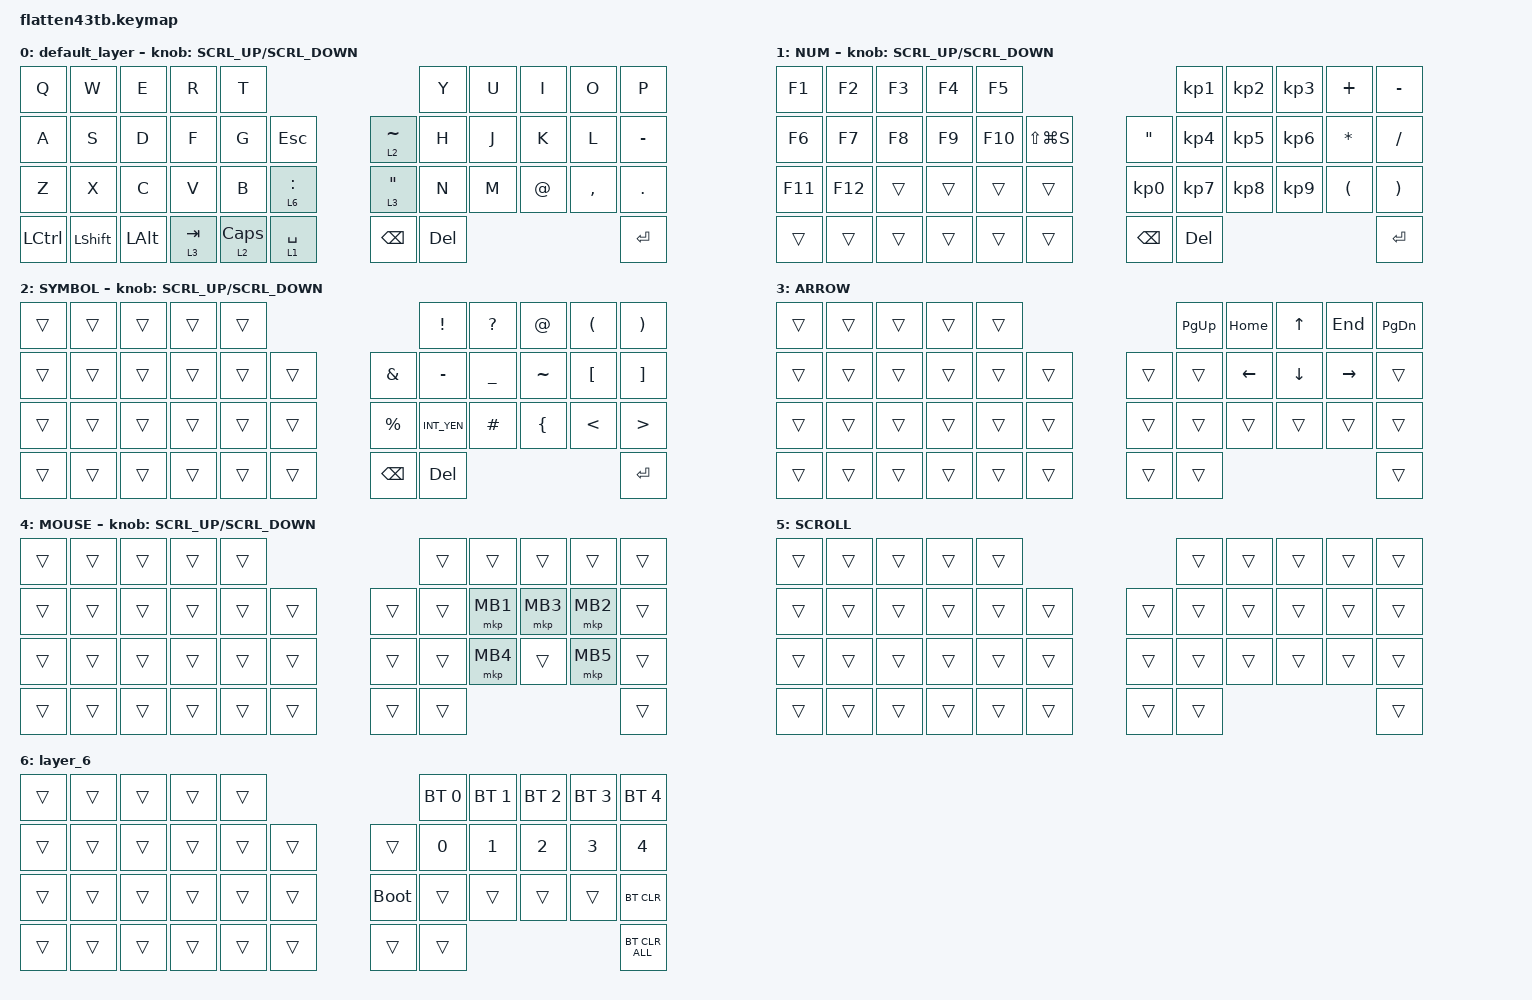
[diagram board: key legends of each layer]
#define ZMK_POINTING_DEFAULT_SCRL_VAL 150

#include <behaviors/rgbled_widget.dtsi>
#include <dt-bindings/zmk/input_transform.h>
#include <input/processors.dtsi>
#include <zephyr/dt-bindings/input/input-event-codes.h>
#include <behaviors.dtsi>
#include <dt-bindings/zmk/bt.h>
#include <dt-bindings/zmk/keys.h>
#include <dt-bindings/zmk/pointing.h>

&mt {
    flavor = "balanced";
    quick-tap-ms = <0>;
};

&mmv {
    delay-ms = <20>;
    trigger-period-ms = <5>;
    time-to-max-speed-ms = <100>;
    acceleration-exponent = <2>;
};

&msc {
    delay-ms = <3>;
    trigger-period-ms = <3>;
    time-to-max-speed-ms = <100>;
    acceleration-exponent = <0>;
};

/ {
    input_processors {
        zip_wheel_scaler: zip_wheel_scaler {
            compatible = "zmk,input-processor-scaler";
            #input-processor-cells = <2>;
            type = <INPUT_EV_REL>;
            codes = <INPUT_REL_WHEEL>;
            track-remainders;
        };
    };
};

/ {
    combos {
        compatible = "zmk,combos";

        tab {
            bindings = <&kp TAB>;
            key-positions = <11 12>;
        };

        shift_tab {
            bindings = <&kp LS(TAB)>;
            key-positions = <12 13>;
        };

        muhennkann {
            bindings = <&to_layer_0 INT_MUHENKAN>;
            key-positions = <11 10>;
        };

        double_quotation {
            bindings = <&kp DOUBLE_QUOTES>;
            key-positions = <20 21>;
        };

        eq {
            bindings = <&kp EQUAL>;
            key-positions = <24 25>;
        };
    };

    macros {
        to_layer_0: to_layer_0 {
            compatible = "zmk,behavior-macro-one-param";
            #binding-cells = <1>;
            bindings = <&to 0 &macro_param_1to1 &kp MACRO_PLACEHOLDER>;
            label = "TO_LAYER_0";
        };
    };

    behaviors {
        lt_to_layer_0: lt_to_layer_0 {
            compatible = "zmk,behavior-hold-tap";
            label = "LAYER_TAP_TO_0";
            bindings = <&mo>, <&to_layer_0>;

            #binding-cells = <2>;
            tapping-term-ms = <200>;
        };

        sensor_rotate_kp: sensor_rotate_kp {
            compatible = "zmk,behavior-sensor-rotate-var";
            #sensor-binding-cells = <2>;
            bindings = <&kp>, <&kp>;
        };

        mouse_wheel_scroll: mouse_wheel_scroll {
            compatible = "zmk,behavior-sensor-rotate-var";
            #sensor-binding-cells = <2>;
            bindings = <&msc>, <&msc>;

            tap-ms = <20>;
        };
    };

    keymap {
        compatible = "zmk,keymap";

        default_layer {
            bindings = <
&kp Q      &kp W           &kp E         &kp R                 &kp T                                                            &kp Y       &kp U  &kp I        &kp O      &kp P
&kp A      &kp S           &kp D         &kp F                 &kp G           &kp ESCAPE                  &lt 2 TILDE          &kp H       &kp J  &kp K        &kp L      &kp MINUS
&kp Z      &kp X           &kp C         &kp V                 &kp B           &lt 6 COLON                 &lt 3 DOUBLE_QUOTES  &kp N       &kp M  &kp AT_SIGN  &kp COMMA  &kp PERIOD
&kp LCTRL  &kp LEFT_SHIFT  &kp LEFT_ALT  &lt_to_layer_0 3 TAB  &lt 2 CAPSLOCK  &lt_to_layer_0 1 SPACE      &kp BACKSPACE        &kp DELETE                                 &kp ENTER
            >;

            sensor-bindings = <&mouse_wheel_scroll SCRL_UP SCRL_DOWN>;
        };

        NUM {
            bindings = <
&kp F1   &kp F2   &kp F3  &kp F4  &kp F5                                         &kp KP_NUMBER_1  &kp KP_NUMBER_2  &kp KP_NUMBER_3  &kp PLUS              &kp MINUS
&kp F6   &kp F7   &kp F8  &kp F9  &kp F10  &kp LS(LG(S))      &kp DOUBLE_QUOTES  &kp KP_NUMBER_4  &kp KP_NUMBER_5  &kp KP_NUMBER_6  &kp ASTERISK          &kp SLASH
&kp F11  &kp F12  &trans  &trans  &trans   &trans             &kp KP_NUMBER_0    &kp KP_NUMBER_7  &kp KP_NUMBER_8  &kp KP_NUMBER_9  &kp LEFT_PARENTHESIS  &kp RIGHT_PARENTHESIS
&trans   &trans   &trans  &trans  &trans   &trans             &kp BACKSPACE      &kp DELETE                                                               &kp ENTER
            >;

            sensor-bindings = <&mouse_wheel_scroll SCRL_UP SCRL_DOWN>;
        };

        SYMBOL {
            bindings = <
&trans  &trans  &trans  &trans  &trans                             &kp EXCL     &kp QUESTION  &kp AT_SIGN     &kp LEFT_PARENTHESIS  &kp RIGHT_PARENTHESIS
&trans  &trans  &trans  &trans  &trans  &trans      &kp AMPS       &kp MINUS    &kp UNDER     &kp TILDE       &kp LEFT_BRACKET      &kp RIGHT_BRACKET
&trans  &trans  &trans  &trans  &trans  &trans      &kp PERCENT    &kp INT_YEN  &kp HASH      &kp LEFT_BRACE  &kp LESS_THAN         &kp GREATER_THAN
&trans  &trans  &trans  &trans  &trans  &trans      &kp BACKSPACE  &kp DELETE                                                       &kp ENTER
            >;

            sensor-bindings = <&mouse_wheel_scroll SCRL_UP SCRL_DOWN>;
        };

        ARROW {
            bindings = <
&trans  &trans  &trans  &trans  &trans                      &kp PAGE_UP  &kp HOME        &kp UP_ARROW    &kp END          &kp PAGE_DOWN
&trans  &trans  &trans  &trans  &trans  &trans      &trans  &trans       &kp LEFT_ARROW  &kp DOWN_ARROW  &kp RIGHT_ARROW  &trans
&trans  &trans  &trans  &trans  &trans  &trans      &trans  &trans       &trans          &trans          &trans           &trans
&trans  &trans  &trans  &trans  &trans  &trans      &trans  &trans                                                        &trans
            >;
        };

        MOUSE {
            bindings = <
&trans  &trans  &trans  &trans  &trans                      &trans  &trans    &trans    &trans    &trans
&trans  &trans  &trans  &trans  &trans  &trans      &trans  &trans  &mkp MB1  &mkp MB3  &mkp MB2  &trans
&trans  &trans  &trans  &trans  &trans  &trans      &trans  &trans  &mkp MB4  &trans    &mkp MB5  &trans
&trans  &trans  &trans  &trans  &trans  &trans      &trans  &trans                                &trans
            >;

            sensor-bindings = <&mouse_wheel_scroll SCRL_UP SCRL_DOWN>;
        };

        SCROLL {
            bindings = <
&trans  &trans  &trans  &trans  &trans                      &trans  &trans  &trans  &trans  &trans
&trans  &trans  &trans  &trans  &trans  &trans      &trans  &trans  &trans  &trans  &trans  &trans
&trans  &trans  &trans  &trans  &trans  &trans      &trans  &trans  &trans  &trans  &trans  &trans
&trans  &trans  &trans  &trans  &trans  &trans      &trans  &trans                          &trans
            >;
        };

        layer_6 {
            bindings = <
&trans  &trans  &trans  &trans  &trans                           &bt BT_SEL 0  &bt BT_SEL 1  &bt BT_SEL 2  &bt BT_SEL 3  &bt BT_SEL 4
&trans  &trans  &trans  &trans  &trans  &trans      &trans       &kp NUMBER_0  &kp NUMBER_1  &kp NUMBER_2  &kp NUMBER_3  &kp NUMBER_4
&trans  &trans  &trans  &trans  &trans  &trans      &bootloader  &trans        &trans        &trans        &trans        &bt BT_CLR
&trans  &trans  &trans  &trans  &trans  &trans      &trans       &trans                                                  &bt BT_CLR_ALL
            >;
        };
    };
};
